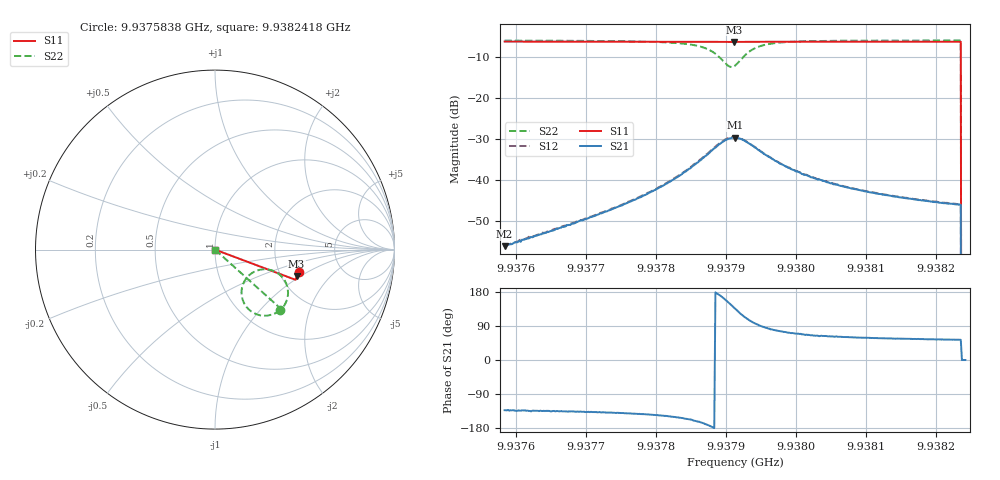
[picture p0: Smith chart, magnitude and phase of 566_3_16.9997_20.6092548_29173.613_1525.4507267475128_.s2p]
#  HZ  S  RI  R  50.00
! Rohde & Schwarz Vector Network Analyzer
! Rohde-Schwarz,ZNB20-2Port,1311601062101988,3.16
! Created: UTC 3/20/2024, 11:17:25 PM
! freq[Hz]  re:S11  im:S11  re:S21  im:S21  re:S12  im:S12  re:S22  im:S22
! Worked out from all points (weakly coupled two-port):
!   401 points, 9.9375838 GHz to 9.9382418 GHz, reference 50 ohm
!   highest |S21| = -29.73 dB at 9.9379128 GHz (marker M1); lowest = -56.2 dB at 9.9375838 GHz (marker M2)
!   lowest |S11| = -6.4 dB at 9.9379111 GHz (marker M3), VSWR 2.83, Z = 121 - j45.8 ohm
!   |S11| at or under -10 dB: 9.9382353 GHz to end of sweep
!   |S22| runs from - to -6.1 dB; largest |S21 - S12| = 0.0015
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9.93758375e9  0.4654 -0.1269  -0.00105 -0.00114  -0.0011 -0.00115  0.3636 -0.3365
9.93769398e9  0.4626 -0.1343  -0.00234 -0.00219  -0.00234 -0.00221  0.3467 -0.3487
9.9377532e9  0.4612 -0.1384  -0.0038 -0.0032  -0.00394 -0.00319  0.3308 -0.3572
9.9378042e9  0.4597 -0.142  -0.00664 -0.00445  -0.00681 -0.00447  0.3043 -0.3657
9.93784039e9  0.4582 -0.1446  -0.0111 -0.00532  -0.0114 -0.00525  0.2658 -0.3681
9.93785849e9  0.4573 -0.1459  -0.0153 -0.00498  -0.0155 -0.00487  0.2325 -0.3605
9.93787165e9  0.4564 -0.1466  -0.0194 -0.00349  -0.0201 -0.00319  0.1993 -0.3427
9.93788317e9  0.4555 -0.147  -0.024 -9.82e-05  -0.0247 0.000594  0.1672 -0.3079
9.93789468e9  0.4546 -0.147  -0.0278 0.00702  -0.0283 0.00803  0.148 -0.2453
9.93790455e9  0.4541 -0.1467  -0.0276 0.0159  -0.0276 0.0171  0.1641 -0.1758
9.93791113e9  0.4542 -0.1462  -0.0242 0.0216  -0.0241 0.0228  0.1984 -0.1362
9.93791278e9  0.4543 -0.1462  -0.0233 0.0228  -0.0228 0.024  0.209 -0.1288
9.937921e9  0.4548 -0.1461  -0.0164 0.0268  -0.0158 0.0277  0.2685 -0.1097
9.93793252e9  0.4556 -0.1466  -0.00764 0.0267  -0.00675 0.0272  0.3383 -0.1245
9.93794897e9  0.4562 -0.148  2.41e-06 0.0222  0.00057 0.0223  0.3885 -0.1724
9.93798516e9  0.4559 -0.1513  0.00406 0.0139  0.00447 0.0139  0.4068 -0.245
9.938023e9  0.455 -0.1541  0.00446 0.00978  0.00458 0.00981  0.4006 -0.28
9.93806742e9  0.454 -0.1573  0.00405 0.00721  0.0042 0.00723  0.3919 -0.301
9.93813323e9  0.4521 -0.1617  0.0035 0.00535  0.00364 0.00533  0.3815 -0.3177
9.93823193e9  0.4496 -0.1681  0.00296 0.004  0.00303 0.004  0.3704 -0.3321
9.93824016e9  0 0  0 0  0 0  0 0
9.9382418e9  0 0  0 0  0 0  0 0
